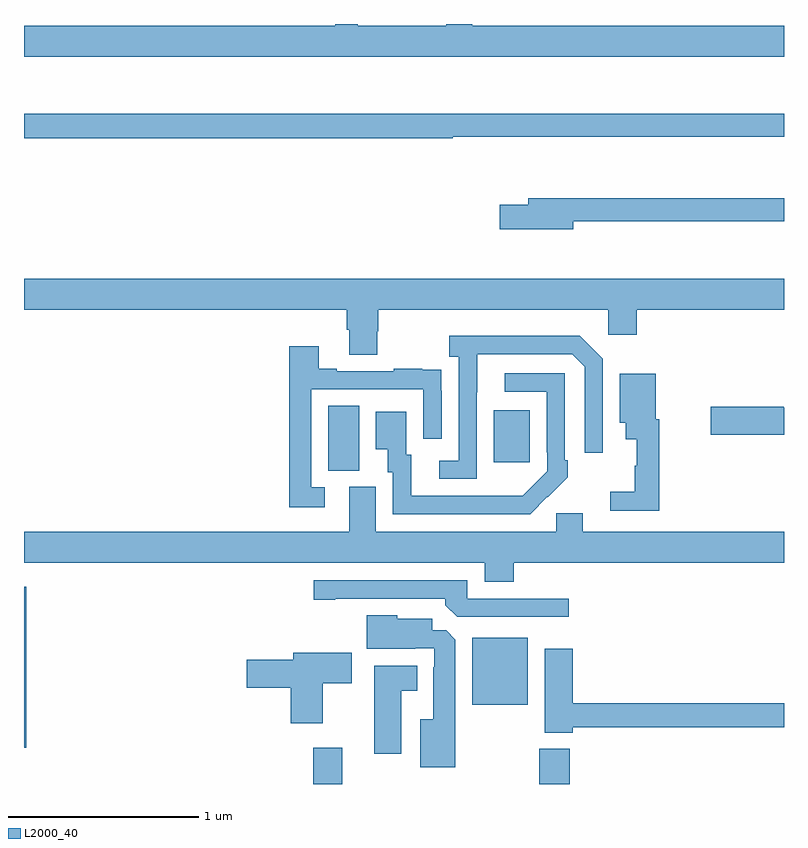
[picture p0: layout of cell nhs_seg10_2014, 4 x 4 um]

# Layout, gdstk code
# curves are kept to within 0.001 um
import gdstk
lib = gdstk.Library(unit=1e-6, precision=1e-09)
def R(c, l, rs):  # rectangles x0, y0, x1, y1
    for r in rs: c.add(gdstk.rectangle(r[:2], r[2:], *l))
def P(c, l, *ps):  # polygons
    for p in ps: c.add(gdstk.Polygon(p, *l))
L2000_40 = (2000, 40)

nhs_seg10_2014 = lib.new_cell('nhs_seg10_2014')
R(nhs_seg10_2014, L2000_40, [(218.522,1284.5,218.674,1284.691), (219.712,1284.5,219.872,1284.685), (217,1284.69,217.013,1285.537), (219.359,1284.917,219.652,1285.27), (218.6,1286.149,218.764,1286.492), (219.473,1286.193,219.661,1286.467)])
P(nhs_seg10_2014, L2000_40, [(221,1288.492),(219.359,1288.492),(219.359,1288.5),(219.223,1288.5),(219.223,1288.492),(218.756,1288.492),(218.756,1288.5),(218.639,1288.5),(218.639,1288.492),(217,1288.492),(217,1288.328),(221,1288.328)],
  [(219.256,1287.906),(221,1287.906),(221,1288.027),(217,1288.027),(217,1287.898),(219.256,1287.898)],
  [(219.892,1287.462),(221,1287.462),(221,1287.583),(219.653,1287.583),(219.653,1287.549),(219.504,1287.549),(219.504,1287.419),(219.892,1287.419)],
  [(217,1286.996),(218.699,1286.996),(218.699,1286.89),(218.711,1286.89),(218.711,1286.758),(218.859,1286.758),(218.859,1286.883),(218.864,1286.883),(218.864,1286.996),(220.074,1286.996),(220.074,1286.865),(220.226,1286.865),(220.226,1286.996),(221,1286.996),(221,1287.16),(217,1287.16)],
  [(219.384,1286.563),(219.385,1286.763),(219.885,1286.763),(219.951,1286.697),(219.951,1286.244),(220.047,1286.244),(220.047,1286.739),(219.926,1286.86),(219.237,1286.86),(219.237,1286.75),(219.288,1286.75),(219.288,1286.202),(219.186,1286.202),(219.186,1286.106),(219.384,1286.106)],
  [(218.584,1286.061),(218.511,1286.061),(218.511,1286.577),(219.102,1286.577),(219.102,1286.316),(219.198,1286.316),(219.198,1286.57),(219.197,1286.57),(219.197,1286.679),(219.095,1286.679),(219.095,1286.686),(218.947,1286.686),(218.947,1286.673),(218.647,1286.673),(218.647,1286.686),(218.551,1286.686),(218.551,1286.803),(218.395,1286.803),(218.395,1285.956),(218.584,1285.956)],
  [(219.755,1286.011),(219.756,1286.01),(219.861,1286.115),(219.861,1286.203),(219.846,1286.203),(219.846,1286.661),(219.531,1286.661),(219.531,1286.565),(219.75,1286.565),(219.75,1286.245),(219.753,1286.245),(219.753,1286.145),(219.625,1286.017),(219.037,1286.016),(219.037,1286.232),(219.013,1286.232),(219.013,1286.458),(218.852,1286.458),(218.852,1286.261),(218.915,1286.261),(218.915,1286.142),(218.94,1286.142),(218.94,1285.92),(219.664,1285.92)],
  [(220.343,1286.419),(220.324,1286.419),(220.324,1286.659),(220.136,1286.659),(220.136,1286.402),(220.166,1286.402),(220.166,1286.315),(220.226,1286.315),(220.226,1286.175),(220.215,1286.175),(220.215,1286.039),(220.086,1286.039),(220.086,1285.938),(220.343,1285.938)],
  [(221,1286.48),(220.998,1286.48),(220.998,1286.486),(220.614,1286.486),(220.614,1286.339),(221,1286.339)],
  [(219.578,1285.664),(221,1285.664),(221,1285.828),(219.94,1285.828),(219.94,1285.926),(219.801,1285.926),(219.801,1285.828),(218.851,1285.828),(218.851,1286.064),(218.711,1286.064),(218.711,1285.828),(217,1285.828),(217,1285.664),(219.425,1285.664),(219.425,1285.565),(219.578,1285.565)],
  [(219.868,1285.476),(219.333,1285.476),(219.333,1285.572),(218.526,1285.572),(218.526,1285.471),(218.638,1285.471),(218.638,1285.476),(219.218,1285.476),(219.218,1285.442),(219.279,1285.38),(219.868,1285.38)],
  [(219.271,1285.259),(219.222,1285.308),(219.148,1285.308),(219.148,1285.369),(218.964,1285.369),(218.964,1285.387),(218.804,1285.387),(218.804,1285.211),(219.059,1285.211),(219.059,1285.215),(219.159,1285.215),(219.159,1285.115),(219.155,1285.115),(219.155,1284.841),(219.086,1284.841),(219.086,1284.587),(219.271,1284.587)],
  [(219.887,1284.798),(221,1284.798),(221,1284.926),(219.887,1284.926),(219.887,1285.213),(219.74,1285.213),(219.74,1284.77),(219.887,1284.77)],
  [(218.572,1285.03),(218.725,1285.03),(218.725,1285.192),(218.417,1285.192),(218.417,1285.154),(218.172,1285.154),(218.172,1285.007),(218.405,1285.007),(218.405,1284.819),(218.572,1284.819)],
  [(218.986,1284.992),(219.07,1284.992),(219.07,1285.123),(218.843,1285.123),(218.843,1284.66),(218.986,1284.66)])

lib.write_gds('nhs_seg10_2014.gds')
